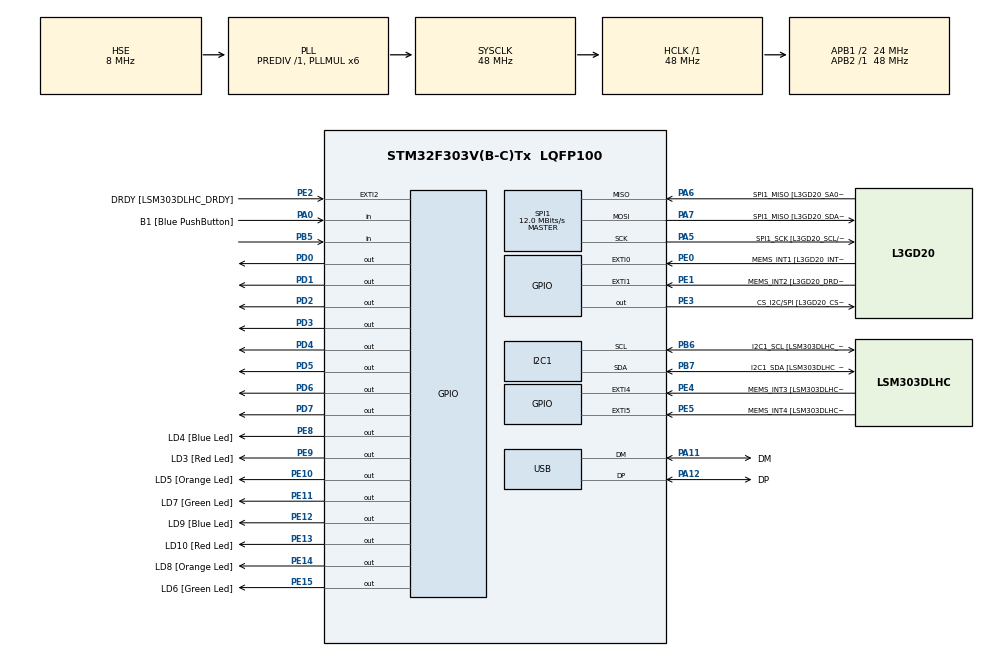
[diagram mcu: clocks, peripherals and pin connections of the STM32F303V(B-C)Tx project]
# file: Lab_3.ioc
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I2C1.Timing=0x2000090E
I2C1.Timing-I2C=0x2000090E
Mcu.Family=STM32F3
Mcu.Name=STM32F303V(B-C)Tx
Mcu.Package=LQFP100
NVIC.PriorityGroup=NVIC_PRIORITYGROUP_0
PA0.GPIO_Label=B1 [Blue PushButton]
PA0.Signal=GPIO_Input
PA11.GPIO_Label=DM
PA11.Mode=Device
PA11.Signal=USB_DM
PA12.GPIO_Label=DP
PA12.Mode=Device
PA12.Signal=USB_DP
PA13.GPIO_Label=SWDIO
PA13.Mode=Serial_Wire
PA13.Signal=SYS_JTMS-SWDIO
PA14.GPIO_Label=SWCLK
PA14.Mode=Serial_Wire
PA14.Signal=SYS_JTCK-SWCLK
PA5.GPIO_Label=SPI1_SCK [L3GD20_SCL/SPC]
PA5.Mode=Full_Duplex_Master
PA5.Signal=SPI1_SCK
PA6.GPIO_Label=SPI1_MISO [L3GD20_SA0/SDO]
PA6.Mode=Full_Duplex_Master
PA6.Signal=SPI1_MISO
PA7.GPIO_Label=SPI1_MISO [L3GD20_SDA/SDI/SDO]
PA7.Mode=Full_Duplex_Master
PA7.Signal=SPI1_MOSI
PB3.GPIO_Label=SWO
PB3.Signal=SYS_JTDO-TRACESWO
PB5.Signal=GPIO_Input
PB6.GPIO_Label=I2C1_SCL [LSM303DLHC_SCL]
PB6.GPIO_Pu=GPIO_PULLUP
PB6.Mode=I2C
PB6.Signal=I2C1_SCL
PB7.GPIO_Label=I2C1_SDA [LSM303DLHC_SDA]
PB7.GPIO_Pu=GPIO_PULLUP
PB7.Mode=I2C
PB7.Signal=I2C1_SDA
PC14-OSC32_IN.GPIO_Label=OSC32_IN
PC14-OSC32_IN.Signal=RCC_OSC32_IN
PC15-OSC32_OUT.GPIO_Label=OSC32_OUT
PC15-OSC32_OUT.Signal=RCC_OSC32_OUT
PD0.Signal=GPIO_Output
PD1.Signal=GPIO_Output
PD2.Signal=GPIO_Output
PD3.Signal=GPIO_Output
PD4.Signal=GPIO_Output
PD5.Signal=GPIO_Output
PD6.Signal=GPIO_Output
PD7.Signal=GPIO_Output
PE0.GPIO_Label=MEMS_INT1 [L3GD20_INT1]
PE0.GPIO_ModeDefaultEXTI=GPIO_MODE_EVT_RISING
PE0.Signal=GPXTI0
PE1.GPIO_Label=MEMS_INT2 [L3GD20_DRDY/INT2]
PE1.GPIO_ModeDefaultEXTI=GPIO_MODE_EVT_RISING
PE1.Signal=GPXTI1
PE10.GPIO_Label=LD5 [Orange Led]
PE10.Signal=GPIO_Output
PE11.GPIO_Label=LD7 [Green Led]
PE11.Signal=GPIO_Output
PE12.GPIO_Label=LD9 [Blue Led]
PE12.Signal=GPIO_Output
PE13.GPIO_Label=LD10 [Red Led]
PE13.Signal=GPIO_Output
PE14.GPIO_Label=LD8 [Orange Led]
PE14.Signal=GPIO_Output
PE15.GPIO_Label=LD6 [Green Led]
PE15.Signal=GPIO_Output
PE2.GPIO_Label=DRDY [LSM303DLHC_DRDY]
PE2.GPIO_ModeDefaultEXTI=GPIO_MODE_EVT_RISING
PE2.Signal=GPXTI2
PE3.GPIO_Label=CS_I2C/SPI [L3GD20_CS_I2C/SPI]
PE3.Signal=GPIO_Output
PE4.GPIO_Label=MEMS_INT3 [LSM303DLHC_INT1]
PE4.GPIO_ModeDefaultEXTI=GPIO_MODE_EVT_RISING
PE4.Signal=GPXTI4
PE5.GPIO_Label=MEMS_INT4 [LSM303DLHC_INT2]
PE5.GPIO_ModeDefaultEXTI=GPIO_MODE_EVT_RISING
PE5.Signal=GPXTI5
PE8.GPIO_Label=LD4 [Blue Led]
PE8.Signal=GPIO_Output
PE9.GPIO_Label=LD3 [Red Led]
PE9.Signal=GPIO_Output
PF0-OSC_IN.GPIO_Label=OSC_IN
PF0-OSC_IN.Mode=HSE-External-Clock-Source
PF0-OSC_IN.Signal=RCC_OSC_IN
PF1-OSC_OUT.GPIO_Label=OSC_OUT
PF1-OSC_OUT.Signal=RCC_OSC_OUT
ProjectManager.HeapSize=0x200
ProjectManager.StackSize=0x400
ProjectManager.TargetToolchain=CMake
RCC.AHBFreq_Value=48000000
RCC.APB1CLKDivider=RCC_HCLK_DIV2
RCC.APB1Freq_Value=24000000
RCC.APB1TimFreq_Value=48000000
RCC.APB2Freq_Value=48000000
RCC.APB2TimFreq_Value=48000000
RCC.CortexFreq_Value=48000000
RCC.HCLKFreq_Value=48000000
RCC.HSE_VALUE=8000000
RCC.HSI_VALUE=8000000
RCC.LSE_VALUE=32768
RCC.PLLMUL=RCC_PLL_MUL6
RCC.SYSCLKFreq_VALUE=48000000
RCC.SYSCLKSourceVirtual=RCC_SYSCLKSOURCE_PLLCLK
RCC.USBFreq_Value=48000000
SPI1.BaudRatePrescaler=SPI_BAUDRATEPRESCALER_4
SPI1.BaudRatePrescaler-Full_Duplex_Master=SPI_BAUDRATEPRESCALER_2
SPI1.CalculateBaudRate=12.0 MBits/s
SPI1.CalculateBaudRate-Full_Duplex_Master=24.0 MBits/s
SPI1.Direction=SPI_DIRECTION_2LINES
SPI1.Mode=SPI_MODE_MASTER
SPI1.Mode-Full_Duplex_Master=SPI_MODE_MASTER
SPI1.VirtualType=VM_MASTER
board=STM32F3DISCOVERY

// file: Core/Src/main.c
/* USER CODE BEGIN Header */
/**
  ******************************************************************************
  * @file           : main.c
  * @brief          : Main program body
  ******************************************************************************
  * @attention
  *
  * Copyright (c) 2026 STMicroelectronics.
  * All rights reserved.
  *
  * This software is licensed under terms that can be found in the LICENSE file
  * in the root directory of this software component.
  * If no LICENSE file comes with this software, it is provided AS-IS.
  *
  ******************************************************************************
  */
/* USER CODE END Header */
#include "main.h"
#include "stdlib.h"

I2C_HandleTypeDef hi2c1;

SPI_HandleTypeDef hspi1;

PCD_HandleTypeDef hpcd_USB_FS;

void SystemClock_Config(void);
static void MX_GPIO_Init(void);
static void MX_I2C1_Init(void);
static void MX_SPI1_Init(void);
static void MX_USB_PCD_Init(void);

/* USER CODE BEGIN 0 */
// Task 1
void get_7segment_signals(unsigned char input, int signals[7]) {
    // Common Anode Lookup Table (0 = ON, 1 = OFF)
    // Format: {a, b, c, d, e, f, g}
    static const int lut[16][7] = {
        {0, 0, 0, 0, 0, 0, 1}, // 0
        {1, 0, 0, 1, 1, 1, 1}, // 1
        {0, 0, 1, 0, 0, 1, 0}, // 2
        {0, 0, 0, 0, 1, 1, 0}, // 3
        {1, 0, 0, 1, 1, 0, 0}, // 4
        {0, 1, 0, 0, 1, 0, 0}, // 5
        {0, 1, 0, 0, 0, 0, 0}, // 6
        {0, 0, 0, 1, 1, 1, 1}, // 7
        {0, 0, 0, 0, 0, 0, 0}, // 8
        {0, 0, 0, 0, 1, 0, 0}, // 9
        {0, 0, 0, 1, 0, 0, 0}, // A (10)
        {1, 1, 0, 0, 0, 0, 0}, // b (11)
        {0, 1, 1, 0, 0, 0, 1}, // C (12)
        {1, 0, 0, 0, 0, 1, 0}, // d (13)
        {0, 1, 1, 0, 0, 0, 0}, // E (14)
        {0, 1, 1, 1, 0, 0, 0}  // F (15)
    };

    int index = 0;

    // Support for 0-15 and '0'-'F'
    if (input <= 15) {
        index = input;
    } else if (input >= '0' && input <= '9') {
        index = input - '0';
    } else if (input >= 'A' && input <= 'F') {
        index = input - 'A' + 10;
    } else if (input >= 'a' && input <= 'f') {
        index = input - 'a' + 10;
    } else {
        // Default to all segments OFF for Common Anode (all 1s)
        for(int i=0; i<7; i++) signals[i] = 1;
        return;
    }

    for (int i = 0; i < 7; i++) {
        signals[i] = lut[index][i];
    }
}

/* USER CODE END 0 */

int main(void)
{

  /* MCU Configuration--------------------------------------------------------*/

  /* Reset of all peripherals, Initializes the Flash interface and the Systick. */
  HAL_Init();

  /* Configure the system clock */
  SystemClock_Config();

  /* Initialize all configured peripherals */
  MX_GPIO_Init();
  MX_I2C1_Init();
  MX_SPI1_Init();
  MX_USB_PCD_Init();
  /* USER CODE BEGIN 2 */
  //Task1
  //int atWhichChar = 0;

  //Task 2
  //int studentID[] = {9, 8, 9, 2};
  //int idIndex = 0;
  //int idLength = 4;

  //Task 3
  //int counter = 0;

  //Task 4
  int signals[7] = {0};
  int randNum = (rand() % 6) + 1;

  /* USER CODE END 2 */

  /* Infinite loop */
  /* USER CODE BEGIN WHILE */

  while (1)
  {
    /* USER CODE BEGIN 3 */
    /* USER CODE END WHILE */

    /* USER CODE BEGIN 3 */
    /* USER CODE END WHILE */
    //Task_1
    // get_7segment_signals(atWhichChar, signals);
    // HAL_GPIO_WritePin(GPIOD, GPIO_PIN_1, signals[0]); // a
    // HAL_GPIO_WritePin(GPIOD, GPIO_PIN_2, signals[1]); // b
    // HAL_GPIO_WritePin(GPIOD, GPIO_PIN_3, signals[2]); // c
    // HAL_GPIO_WritePin(GPIOD, GPIO_PIN_4, signals[3]); // d
    // HAL_GPIO_WritePin(GPIOD, GPIO_PIN_5, signals[4]); // e
    // HAL_GPIO_WritePin(GPIOD, GPIO_PIN_6, signals[5]); // f
    // HAL_GPIO_WritePin(GPIOD, GPIO_PIN_7, signals[6]); // g

    // atWhichChar++;
    // if (atWhichChar > 15) {
    //   atWhichChar = 0;
    // }
    // HAL_Delay(500); // Wait 500ms so you can see the change!
    //Task 2
    // if (HAL_GPIO_ReadPin(GPIOA, GPIO_PIN_0) == GPIO_PIN_SET)
    // {
    //     // (c) Simple software debounce
    //     HAL_Delay(50);
    //     if (HAL_GPIO_ReadPin(GPIOA, GPIO_PIN_0) == GPIO_PIN_SET)
    //     {
    //         // Update the display with the current ID digit
    //         get_7segment_signals(studentID[idIndex], signals);

    //         HAL_GPIO_WritePin(GPIOD, GPIO_PIN_1, signals[0]); // a
    //         HAL_GPIO_WritePin(GPIOD, GPIO_PIN_2, signals[1]); // b
    //         HAL_GPIO_WritePin(GPIOD, GPIO_PIN_3, signals[2]); // c
    //         HAL_GPIO_WritePin(GPIOD, GPIO_PIN_4, signals[3]); // d
    //         HAL_GPIO_WritePin(GPIOD, GPIO_PIN_5, signals[4]); // e
    //         HAL_GPIO_WritePin(GPIOD, GPIO_PIN_6, signals[5]); // f
    //         HAL_GPIO_WritePin(GPIOD, GPIO_PIN_7, signals[6]); // g

    //         // (d) Increment and reset logic
    //         idIndex++;
    //         if (idIndex >= idLength) {
    //             idIndex = 0;
    //         }

    //         // Wait for button release so it doesn't skip digits
    //         while(HAL_GPIO_ReadPin(GPIOA, GPIO_PIN_0) == GPIO_PIN_SET);
    //     }
    // }

    //Task 3
  //   if (HAL_GPIO_ReadPin(GPIOA, GPIO_PIN_0) == GPIO_PIN_SET)
  //   {
  //       HAL_Delay(50);
  //       if (HAL_GPIO_ReadPin(GPIOA, GPIO_PIN_0) == GPIO_PIN_SET)
  //       {
  //           counter++;
  //           if (counter > 15) counter = 0;

  //           // Wait for release to prevent rapid incrementing
  //           while(HAL_GPIO_ReadPin(GPIOA, GPIO_PIN_0) == GPIO_PIN_SET);
  //       }
  //   }

  //   if (HAL_GPIO_ReadPin(GPIOB, GPIO_PIN_5) == GPIO_PIN_SET)
  //   {
  //       HAL_Delay(50);
  //       if (HAL_GPIO_ReadPin(GPIOB, GPIO_PIN_5) == GPIO_PIN_SET)
  //       {
  //           counter--;
  //           if (counter < 0) counter = 15;

  //           // Wait for release
  //           while(HAL_GPIO_ReadPin(GPIOB, GPIO_PIN_5) == GPIO_PIN_SET);
  //       }
  //   }

  //   get_7segment_signals(counter, signals);

  //   HAL_GPIO_WritePin(GPIOD, GPIO_PIN_1, signals[0]); // a
  //   HAL_GPIO_WritePin(GPIOD, GPIO_PIN_2, signals[1]); // b
  //   HAL_GPIO_WritePin(GPIOD, GPIO_PIN_3, signals[2]); // c
  //   HAL_GPIO_WritePin(GPIOD, GPIO_PIN_4, signals[3]); // d
  //   HAL_GPIO_WritePin(GPIOD, GPIO_PIN_5, signals[4]); // e
  //   HAL_GPIO_WritePin(GPIOD, GPIO_PIN_6, signals[5]); // f
  //   HAL_GPIO_WritePin(GPIOD, GPIO_PIN_7, signals[6]); // g
  // }

  //Task 4
  get_7segment_signals(randNum, signals);
  HAL_GPIO_WritePin(GPIOD, GPIO_PIN_1, signals[0]); // a
  HAL_GPIO_WritePin(GPIOD, GPIO_PIN_2, signals[1]); // b
  HAL_GPIO_WritePin(GPIOD, GPIO_PIN_3, signals[2]); // c
  HAL_GPIO_WritePin(GPIOD, GPIO_PIN_4, signals[3]); // d
  HAL_GPIO_WritePin(GPIOD, GPIO_PIN_5, signals[4]); // e
  HAL_GPIO_WritePin(GPIOD, GPIO_PIN_6, signals[5]); // f
  HAL_GPIO_WritePin(GPIOD, GPIO_PIN_7, signals[6]); // g

    if (HAL_GPIO_ReadPin(GPIOA, GPIO_PIN_0) == GPIO_PIN_SET){
      HAL_Delay(50);
      if (HAL_GPIO_ReadPin(GPIOA, GPIO_PIN_0) == GPIO_PIN_SET) {
        randNum = (rand() % 6 ) + 1;
        HAL_Delay(200);
      }
    }
  }

  /* USER CODE END 3 */
}

void SystemClock_Config(void)
{
  RCC_OscInitTypeDef RCC_OscInitStruct = {0};
  RCC_ClkInitTypeDef RCC_ClkInitStruct = {0};
  RCC_PeriphCLKInitTypeDef PeriphClkInit = {0};

  /** Initializes the RCC Oscillators according to the specified parameters
  * in the RCC_OscInitTypeDef structure.
  */
  RCC_OscInitStruct.OscillatorType = RCC_OSCILLATORTYPE_HSI|RCC_OSCILLATORTYPE_HSE;
  RCC_OscInitStruct.HSEState = RCC_HSE_BYPASS;
  RCC_OscInitStruct.HSEPredivValue = RCC_HSE_PREDIV_DIV1;
  RCC_OscInitStruct.HSIState = RCC_HSI_ON;
  RCC_OscInitStruct.HSICalibrationValue = RCC_HSICALIBRATION_DEFAULT;
  RCC_OscInitStruct.PLL.PLLState = RCC_PLL_ON;
  RCC_OscInitStruct.PLL.PLLSource = RCC_PLLSOURCE_HSE;
  RCC_OscInitStruct.PLL.PLLMUL = RCC_PLL_MUL6;
  if (HAL_RCC_OscConfig(&RCC_OscInitStruct) != HAL_OK)
  {
    Error_Handler();
  }

  /** Initializes the CPU, AHB and APB buses clocks
  */
  RCC_ClkInitStruct.ClockType = RCC_CLOCKTYPE_HCLK|RCC_CLOCKTYPE_SYSCLK
                              |RCC_CLOCKTYPE_PCLK1|RCC_CLOCKTYPE_PCLK2;
  RCC_ClkInitStruct.SYSCLKSource = RCC_SYSCLKSOURCE_PLLCLK;
  RCC_ClkInitStruct.AHBCLKDivider = RCC_SYSCLK_DIV1;
  RCC_ClkInitStruct.APB1CLKDivider = RCC_HCLK_DIV2;
  RCC_ClkInitStruct.APB2CLKDivider = RCC_HCLK_DIV1;

  if (HAL_RCC_ClockConfig(&RCC_ClkInitStruct, FLASH_LATENCY_1) != HAL_OK)
  {
    Error_Handler();
  }
  PeriphClkInit.PeriphClockSelection = RCC_PERIPHCLK_USB|RCC_PERIPHCLK_I2C1;
  PeriphClkInit.I2c1ClockSelection = RCC_I2C1CLKSOURCE_HSI;
  PeriphClkInit.USBClockSelection = RCC_USBCLKSOURCE_PLL;
  if (HAL_RCCEx_PeriphCLKConfig(&PeriphClkInit) != HAL_OK)
  {
    Error_Handler();
  }
}

static void MX_I2C1_Init(void)
{

  hi2c1.Instance = I2C1;
  hi2c1.Init.Timing = 0x2000090E;
  hi2c1.Init.OwnAddress1 = 0;
  hi2c1.Init.AddressingMode = I2C_ADDRESSINGMODE_7BIT;
  hi2c1.Init.DualAddressMode = I2C_DUALADDRESS_DISABLE;
  hi2c1.Init.OwnAddress2 = 0;
  hi2c1.Init.OwnAddress2Masks = I2C_OA2_NOMASK;
  hi2c1.Init.GeneralCallMode = I2C_GENERALCALL_DISABLE;
  hi2c1.Init.NoStretchMode = I2C_NOSTRETCH_DISABLE;
  if (HAL_I2C_Init(&hi2c1) != HAL_OK)
  {
    Error_Handler();
  }

  /** Configure Analogue filter
  */
  if (HAL_I2CEx_ConfigAnalogFilter(&hi2c1, I2C_ANALOGFILTER_ENABLE) != HAL_OK)
  {
    Error_Handler();
  }

  /** Configure Digital filter
  */
  if (HAL_I2CEx_ConfigDigitalFilter(&hi2c1, 0) != HAL_OK)
  {
    Error_Handler();
  }

}

static void MX_SPI1_Init(void)
{

  /* SPI1 parameter configuration*/
  hspi1.Instance = SPI1;
  hspi1.Init.Mode = SPI_MODE_MASTER;
  hspi1.Init.Direction = SPI_DIRECTION_2LINES;
  hspi1.Init.DataSize = SPI_DATASIZE_4BIT;
  hspi1.Init.CLKPolarity = SPI_POLARITY_LOW;
  hspi1.Init.CLKPhase = SPI_PHASE_1EDGE;
  hspi1.Init.NSS = SPI_NSS_SOFT;
  hspi1.Init.BaudRatePrescaler = SPI_BAUDRATEPRESCALER_4;
  hspi1.Init.FirstBit = SPI_FIRSTBIT_MSB;
  hspi1.Init.TIMode = SPI_TIMODE_DISABLE;
  hspi1.Init.CRCCalculation = SPI_CRCCALCULATION_DISABLE;
  hspi1.Init.CRCPolynomial = 7;
  hspi1.Init.CRCLength = SPI_CRC_LENGTH_DATASIZE;
  hspi1.Init.NSSPMode = SPI_NSS_PULSE_ENABLE;
  if (HAL_SPI_Init(&hspi1) != HAL_OK)
  {
    Error_Handler();
  }

}

static void MX_USB_PCD_Init(void)
{

  hpcd_USB_FS.Instance = USB;
  hpcd_USB_FS.Init.dev_endpoints = 8;
  hpcd_USB_FS.Init.speed = PCD_SPEED_FULL;
  hpcd_USB_FS.Init.phy_itface = PCD_PHY_EMBEDDED;
  hpcd_USB_FS.Init.low_power_enable = DISABLE;
  hpcd_USB_FS.Init.battery_charging_enable = DISABLE;
  if (HAL_PCD_Init(&hpcd_USB_FS) != HAL_OK)
  {
    Error_Handler();
  }

}

static void MX_GPIO_Init(void)
{
  GPIO_InitTypeDef GPIO_InitStruct = {0};

  /* GPIO Ports Clock Enable */
  __HAL_RCC_GPIOE_CLK_ENABLE();
  __HAL_RCC_GPIOC_CLK_ENABLE();
  __HAL_RCC_GPIOF_CLK_ENABLE();
  __HAL_RCC_GPIOA_CLK_ENABLE();
  __HAL_RCC_GPIOD_CLK_ENABLE();
  __HAL_RCC_GPIOB_CLK_ENABLE();

  /*Configure GPIO pin Output Level */
  HAL_GPIO_WritePin(GPIOE, CS_I2C_SPI_Pin|LD4_Pin|LD3_Pin|LD5_Pin
                          |LD7_Pin|LD9_Pin|LD10_Pin|LD8_Pin
                          |LD6_Pin, GPIO_PIN_RESET);

  /*Configure GPIO pin Output Level */
  HAL_GPIO_WritePin(GPIOD, GPIO_PIN_0|GPIO_PIN_1|GPIO_PIN_2|GPIO_PIN_3
                          |GPIO_PIN_4|GPIO_PIN_5|GPIO_PIN_6|GPIO_PIN_7, GPIO_PIN_RESET);

  /*Configure GPIO pins : DRDY_Pin MEMS_INT3_Pin MEMS_INT4_Pin MEMS_INT1_Pin
                           MEMS_INT2_Pin */
  GPIO_InitStruct.Pin = DRDY_Pin|MEMS_INT3_Pin|MEMS_INT4_Pin|MEMS_INT1_Pin
                          |MEMS_INT2_Pin;
  GPIO_InitStruct.Mode = GPIO_MODE_EVT_RISING;
  GPIO_InitStruct.Pull = GPIO_NOPULL;
  HAL_GPIO_Init(GPIOE, &GPIO_InitStruct);

  /*Configure GPIO pins : CS_I2C_SPI_Pin LD4_Pin LD3_Pin LD5_Pin
                           LD7_Pin LD9_Pin LD10_Pin LD8_Pin
                           LD6_Pin */
  GPIO_InitStruct.Pin = CS_I2C_SPI_Pin|LD4_Pin|LD3_Pin|LD5_Pin
                          |LD7_Pin|LD9_Pin|LD10_Pin|LD8_Pin
                          |LD6_Pin;
  GPIO_InitStruct.Mode = GPIO_MODE_OUTPUT_PP;
  GPIO_InitStruct.Pull = GPIO_NOPULL;
  GPIO_InitStruct.Speed = GPIO_SPEED_FREQ_LOW;
  HAL_GPIO_Init(GPIOE, &GPIO_InitStruct);

  /*Configure GPIO pin : B1_Pin */
  GPIO_InitStruct.Pin = B1_Pin;
  GPIO_InitStruct.Mode = GPIO_MODE_INPUT;
  GPIO_InitStruct.Pull = GPIO_NOPULL;
  HAL_GPIO_Init(B1_GPIO_Port, &GPIO_InitStruct);

  /*Configure GPIO pins : PD0 PD1 PD2 PD3
                           PD4 PD5 PD6 PD7 */
  GPIO_InitStruct.Pin = GPIO_PIN_0|GPIO_PIN_1|GPIO_PIN_2|GPIO_PIN_3
                          |GPIO_PIN_4|GPIO_PIN_5|GPIO_PIN_6|GPIO_PIN_7;
  GPIO_InitStruct.Mode = GPIO_MODE_OUTPUT_PP;
  GPIO_InitStruct.Pull = GPIO_NOPULL;
  GPIO_InitStruct.Speed = GPIO_SPEED_FREQ_LOW;
  HAL_GPIO_Init(GPIOD, &GPIO_InitStruct);

  /*Configure GPIO pin : PB5 */
  GPIO_InitStruct.Pin = GPIO_PIN_5;
  GPIO_InitStruct.Mode = GPIO_MODE_INPUT;
  GPIO_InitStruct.Pull = GPIO_NOPULL;
  HAL_GPIO_Init(GPIOB, &GPIO_InitStruct);

}

void Error_Handler(void)
{
  __disable_irq();
  while (1)
  {
  }
}
